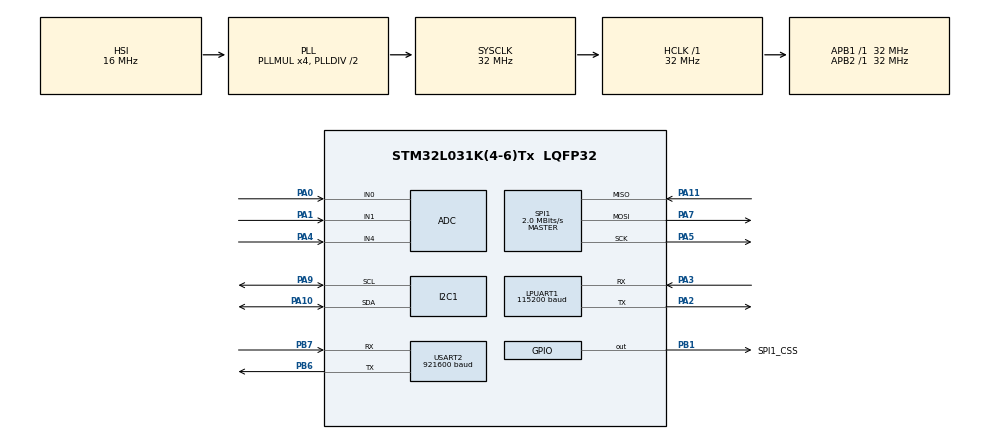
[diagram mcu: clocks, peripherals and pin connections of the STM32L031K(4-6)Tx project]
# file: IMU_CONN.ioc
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ADC.ClockPrescaler=ADC_CLOCK_ASYNC_DIV64
ADC.LowPowerFrequencyMode=ENABLE
ADC.SamplingTime=ADC_SAMPLETIME_3CYCLES_5
I2C1.Timing=0x00707CBB
LPUART1.BaudRate=115200
LPUART1.Mode=UART_MODE_TX
LPUART1.WordLength=UART_WORDLENGTH_8B
Mcu.Family=STM32L0
Mcu.Name=STM32L031K(4-6)Tx
Mcu.Package=LQFP32
PA0-CK_IN.Mode=IN0
PA0-CK_IN.Signal=ADC_IN0
PA1.Mode=IN1
PA1.Signal=ADC_IN1
PA10.Mode=I2C
PA10.Signal=I2C1_SDA
PA11.Mode=Full_Duplex_Master
PA11.Signal=SPI1_MISO
PA2.Mode=Asynchronous
PA2.Signal=LPUART1_TX
PA3.Mode=Asynchronous
PA3.Signal=LPUART1_RX
PA4.Mode=IN4
PA4.Signal=ADC_IN4
PA5.Mode=Full_Duplex_Master
PA5.Signal=SPI1_SCK
PA7.GPIO_PuPd=GPIO_NOPULL
PA7.Mode=Full_Duplex_Master
PA7.Signal=SPI1_MOSI
PA9.Mode=I2C
PA9.Signal=I2C1_SCL
PB1.GPIO_Label=SPI1_CSS
PB1.GPIO_Speed=GPIO_SPEED_FREQ_HIGH
PB1.PinState=GPIO_PIN_SET
PB1.Signal=GPIO_Output
PB6.Mode=Asynchronous
PB6.Signal=USART2_TX
PB7.Mode=Asynchronous
PB7.Signal=USART2_RX
ProjectManager.HeapSize=0x200
ProjectManager.StackSize=0x400
ProjectManager.TargetToolchain=STM32CubeIDE
RCC.AHBFreq_Value=32000000
RCC.APB1Freq_Value=32000000
RCC.APB1TimFreq_Value=32000000
RCC.APB2Freq_Value=32000000
RCC.APB2TimFreq_Value=32000000
RCC.HCLKFreq_Value=32000000
RCC.HSE_VALUE=8000000
RCC.HSI16_VALUE=16000000
RCC.HSI_VALUE=16000000
RCC.LSE_VALUE=32768
RCC.MSI_VALUE=2097000
RCC.PLLMUL=RCC_PLLMUL_4
RCC.SYSCLKFreq_VALUE=32000000
RCC.SYSCLKSource=RCC_SYSCLKSOURCE_PLLCLK
RCC.VCOOutputFreq_Value=64000000
SPI1.BaudRatePrescaler=SPI_BAUDRATEPRESCALER_16
SPI1.CLKPhase=SPI_PHASE_2EDGE
SPI1.CLKPolarity=SPI_POLARITY_HIGH
SPI1.CalculateBaudRate=2.0 MBits/s
SPI1.Direction=SPI_DIRECTION_2LINES
SPI1.Mode=SPI_MODE_MASTER
SPI1.VirtualType=VM_MASTER
USART2.BaudRate=921600
USART2.Mode=MODE_TX_RX
USART2.OneBitSampling=UART_ONE_BIT_SAMPLE_DISABLE
USART2.VirtualMode-Asynchronous=VM_ASYNC
board=custom

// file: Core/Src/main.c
/* USER CODE BEGIN Header */
/**
  ******************************************************************************
  * @file           : main.c
  * @brief          : Main program body
  ******************************************************************************
  * @attention
  *
  * Copyright (c) 2025 STMicroelectronics.
  * All rights reserved.
  *
  * This software is licensed under terms that can be found in the LICENSE file
  * in the root directory of this software component.
  * If no LICENSE file comes with this software, it is provided AS-IS.
  *
  ******************************************************************************
  */
/* USER CODE END Header */
#include "main.h"
#include "adc.h"
#include "i2c.h"
#include "usart.h"
#include "spi.h"
#include "gpio.h"

/* USER CODE BEGIN Includes */
#include <stdio.h>
#include "icm20948.h"
/* USER CODE END Includes */

/* USER CODE BEGIN PV */
axises my_gyro;
axises my_accel;
axises my_mag;
uint32_t adc_values[3]; // for9hhhhhhhhhhhhhhhhhhhhhhhhhhhhhhhhhhhhhhhhhh
/* USER CODE END PV */

void SystemClock_Config(void);
/* USER CODE BEGIN PFP */
#ifdef __GNUC__
#define PUTCHAR_PROTOTYPE int __io_putchar(int ch)
#else
#define PUTCHAR_PROTOTYPE int fputc(int ch, FILE *f)
#endif

PUTCHAR_PROTOTYPE {
    HAL_UART_Transmit(&hlpuart1, (uint8_t *)&ch, 1, HAL_MAX_DELAY);
    HAL_UART_Transmit(&huart2, (uint8_t *)&ch, 1, HAL_MAX_DELAY);
    return ch;
}
/* USER CODE END PFP */

int main(void)
{

  /* MCU Configuration--------------------------------------------------------*/

  /* Reset of all peripherals, Initializes the Flash interface and the Systick. */
  HAL_Init();

  /* Configure the system clock */
  SystemClock_Config();

  /* Initialize all configured peripherals */
  MX_GPIO_Init();
  MX_I2C1_Init();
  MX_LPUART1_UART_Init();
  MX_SPI1_Init();
  MX_USART2_UART_Init();
  MX_ADC_Init();
  /* USER CODE BEGIN 2 */
//   icm20948_init();
//    ak09916_init();
  uint8_t data[] = "Initializing\n\r"; // Define the string to be sent
  	  HAL_UART_Transmit(&hlpuart1, data, sizeof(data), HAL_MAX_DELAY); // Send the string

  	printf("Setting scale factor to _250dps and _2g");
//  	icm20948_gyro_full_scale_select(_250dps);
//  	icm20948_accel_full_scale_select(_2g);
  /* USER CODE END 2 */

  /* Infinite loop */
  while (1)
  {

    /* USER CODE BEGIN 3 */

	  uint8_t TX_Buffer [] = "A" ;

//	  HAL_GPIO_TogglePin(GPIOB, GPIO_PIN_1);
	  HAL_SPI_Transmit(&hspi1, TX_Buffer, 1, 1000); //Sending in Blocking mode
//	  HAL_Delay(1000);

	  HAL_ADC_Start(&hadc);

	 		   // Wait for all conversions to complete
	 		   for (int i = 0; i < 3; i++) {
	 		     // Wait for conversion to complete
	 		     HAL_ADC_PollForConversion(&hadc, 100);

	 		     // Get the ADC value for current channel
	 		     adc_values[i] = HAL_ADC_GetValue(&hadc);
	 		   }

	 		   HAL_ADC_Stop(&hadc);

	 		   // Display results as you were doing before
//	 		   HAL_UART_Transmit(&hlpuart1, "a", 1, HAL_MAX_DELAY);
	 		   for (int i = 0; i < 3; i++) {
	 			  printf("F%d:%lu\r\n", i, adc_values[i]);
	 		     uint8_t Test[7]; // Enough for 4 digits + \n\r\0
//	 		     itoa(adc_values[i], (char*)Test, 10);
//	 		     Test[4] = '\n';
//	 		     Test[5] = '\r';
//	 		     Test[6] = '\0';
//	 		     printf((char*)i);
//	 		     printf(":");
//	 		     printf("\n\r");
//	 		     printf((char*)Test);
//	 		     HAL_UART_Transmit(&hlpuart1, Test, sizeof(Test), HAL_MAX_DELAY);
//	 		     HAL_UART_Transmit(&huart2, Test, sizeof(Test), HAL_MAX_DELAY);
	 		     // Small delay between values
	 		   }

	 		  HAL_Delay(50);
//	  HAL_GPIO_TogglePin(GPIOB, GPIO_PIN_1);
//	  HAL_Delay(1000); // Wait for 1 second before sending again
//	  printf("Hello World\n\r");

//	  icm20948_gyro_read(&my_gyro);
//	  icm20948_accel_read(&my_accel);
//	  ak09916_mag_read(&my_mag);
//
//
//
//	  printf("G: X=%d, Y=%d, Z=%d\r\n", (int)my_gyro.x, (int)my_gyro.y, (int)my_gyro.z);
//	  printf("A: X=%d, Y=%d, Z=%d\r\n", (int)my_accel.x, (int)my_accel.y, (int)my_accel.z);
//	  printf("M: X=%d, Y=%d, Z=%d\r\n", (int)my_mag.x, (int)my_mag.y, (int)my_mag.z);
	  HAL_GPIO_TogglePin(GPIOA, GPIO_PIN_7);
//	  HAL_Delay(1);
//	  delay_us(30);
//	  HAL_GPIO_TogglePin(LD2_GPIO_Port,LD2_Pin);
  }
  /* USER CODE END 3 */
}

void SystemClock_Config(void)
{
  RCC_OscInitTypeDef RCC_OscInitStruct = {0};
  RCC_ClkInitTypeDef RCC_ClkInitStruct = {0};
  RCC_PeriphCLKInitTypeDef PeriphClkInit = {0};

  /** Configure the main internal regulator output voltage
  */
  __HAL_PWR_VOLTAGESCALING_CONFIG(PWR_REGULATOR_VOLTAGE_SCALE1);

  /** Initializes the RCC Oscillators according to the specified parameters
  * in the RCC_OscInitTypeDef structure.
  */
  RCC_OscInitStruct.OscillatorType = RCC_OSCILLATORTYPE_HSI;
  RCC_OscInitStruct.HSIState = RCC_HSI_ON;
  RCC_OscInitStruct.HSICalibrationValue = RCC_HSICALIBRATION_DEFAULT;
  RCC_OscInitStruct.PLL.PLLState = RCC_PLL_ON;
  RCC_OscInitStruct.PLL.PLLSource = RCC_PLLSOURCE_HSI;
  RCC_OscInitStruct.PLL.PLLMUL = RCC_PLLMUL_4;
  RCC_OscInitStruct.PLL.PLLDIV = RCC_PLLDIV_2;
  if (HAL_RCC_OscConfig(&RCC_OscInitStruct) != HAL_OK)
  {
    Error_Handler();
  }

  /** Initializes the CPU, AHB and APB buses clocks
  */
  RCC_ClkInitStruct.ClockType = RCC_CLOCKTYPE_HCLK|RCC_CLOCKTYPE_SYSCLK
                              |RCC_CLOCKTYPE_PCLK1|RCC_CLOCKTYPE_PCLK2;
  RCC_ClkInitStruct.SYSCLKSource = RCC_SYSCLKSOURCE_PLLCLK;
  RCC_ClkInitStruct.AHBCLKDivider = RCC_SYSCLK_DIV1;
  RCC_ClkInitStruct.APB1CLKDivider = RCC_HCLK_DIV1;
  RCC_ClkInitStruct.APB2CLKDivider = RCC_HCLK_DIV1;

  if (HAL_RCC_ClockConfig(&RCC_ClkInitStruct, FLASH_LATENCY_1) != HAL_OK)
  {
    Error_Handler();
  }
  PeriphClkInit.PeriphClockSelection = RCC_PERIPHCLK_USART2|RCC_PERIPHCLK_LPUART1
                              |RCC_PERIPHCLK_I2C1;
  PeriphClkInit.Usart2ClockSelection = RCC_USART2CLKSOURCE_PCLK1;
  PeriphClkInit.Lpuart1ClockSelection = RCC_LPUART1CLKSOURCE_PCLK1;
  PeriphClkInit.I2c1ClockSelection = RCC_I2C1CLKSOURCE_PCLK1;
  if (HAL_RCCEx_PeriphCLKConfig(&PeriphClkInit) != HAL_OK)
  {
    Error_Handler();
  }
}

void Error_Handler(void)
{
  __disable_irq();
  while (1)
  {
  }
}
